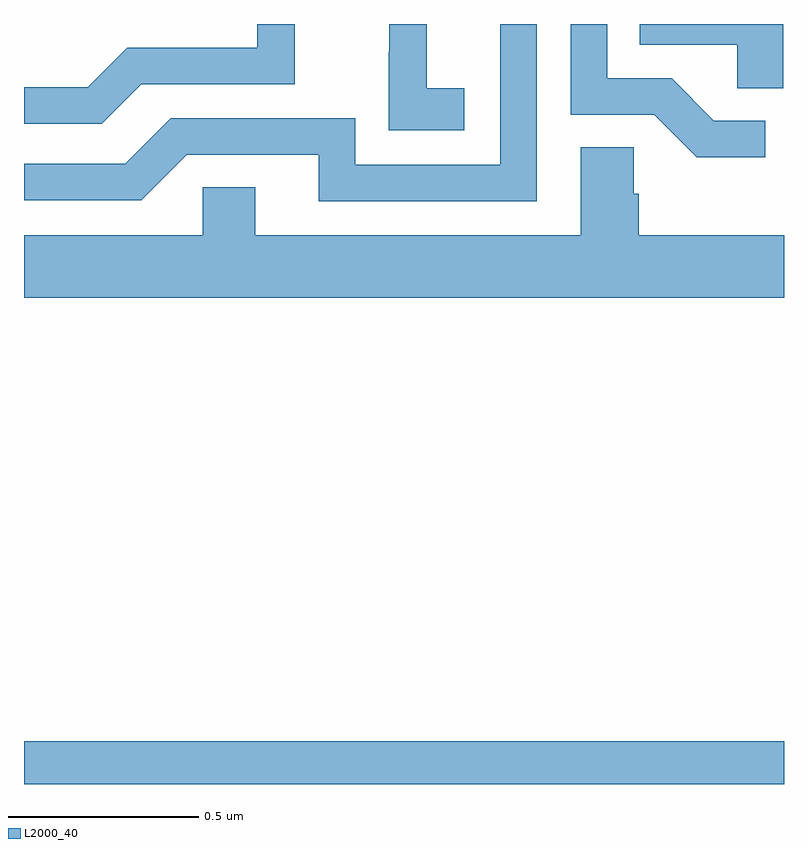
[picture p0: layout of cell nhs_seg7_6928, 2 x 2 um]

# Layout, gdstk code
import gdstk
lib = gdstk.Library(unit=1e-6, precision=1e-09)
def R(c, l, rs):  # rectangles x0, y0, x1, y1
    for r in rs: c.add(gdstk.rectangle(r[:2], r[2:], *l))
def P(c, l, *ps):  # polygons
    for p in ps: c.add(gdstk.Polygon(p, *l))
L2000_40 = (2000, 40)

nhs_seg7_6928 = lib.new_cell('nhs_seg7_6928')
R(nhs_seg7_6928, L2000_40, [(205,1002,207,1002.112)])
P(nhs_seg7_6928, L2000_40, [(206.158,1003.831),(206.06,1003.831),(206.06,1004),(205.961,1004),(205.961,1003.927),(205.96,1003.927),(205.96,1003.721),(206.158,1003.721)],
  [(205.309,1003.842),(205.713,1003.842),(205.713,1004),(205.614,1004),(205.614,1003.938),(205.272,1003.938),(205.168,1003.834),(205,1003.834),(205,1003.737),(205.204,1003.737)],
  [(206.349,1004),(206.253,1004),(206.253,1003.629),(205.872,1003.629),(205.872,1003.752),(205.386,1003.752),(205.266,1003.632),(205,1003.632),(205,1003.536),(205.308,1003.536),(205.428,1003.656),(205.775,1003.656),(205.775,1003.533),(206.349,1003.533)],
  [(206.998,1004),(206.62,1004),(206.62,1003.946),(206.877,1003.946),(206.877,1003.831),(206.998,1003.831)],
  [(206.95,1003.746),(206.815,1003.746),(206.704,1003.857),(206.535,1003.857),(206.535,1004),(206.439,1004),(206.439,1003.761),(206.658,1003.761),(206.771,1003.649),(206.95,1003.649)],
  [(207,1003.444),(206.618,1003.444),(206.618,1003.553),(206.604,1003.553),(206.604,1003.676),(206.465,1003.676),(206.465,1003.444),(205.609,1003.444),(205.609,1003.571),(205.47,1003.571),(205.47,1003.444),(205,1003.444),(205,1003.28),(207,1003.28)])

lib.write_gds('nhs_seg7_6928.gds')
